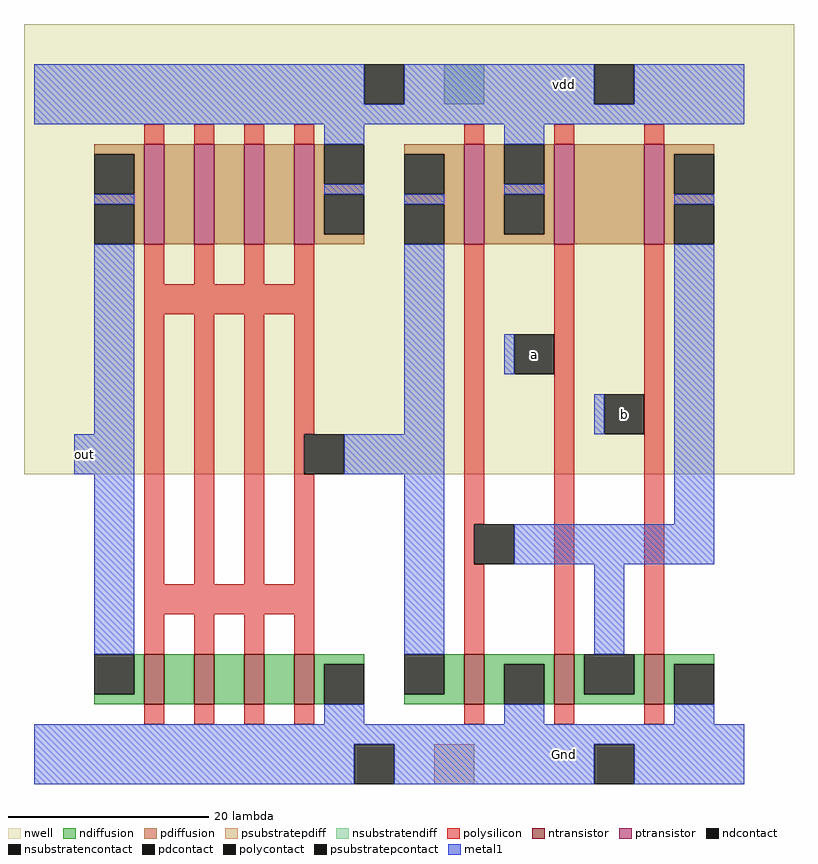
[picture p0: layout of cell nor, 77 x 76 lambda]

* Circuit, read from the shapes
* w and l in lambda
.subckt nor Gnd a b out vdd
M1 n1 n2 out Gnd nfet w=5 l=2
M2 n3 n2 n1 Gnd nfet w=5 l=2
M3 n4 n2 n3 Gnd nfet w=5 l=2
M4 Gnd n2 n4 Gnd nfet w=5 l=2
M5 Gnd n5 n2 Gnd nfet w=5 l=2
M6 n5 a Gnd Gnd nfet w=5 l=2
M7 Gnd b n5 Gnd nfet w=5 l=2
M8 n6 n2 out vdd pfet w=10 l=2
M9 n7 n2 n6 vdd pfet w=10 l=2
M10 n8 n2 n7 vdd pfet w=10 l=2
M11 vdd n2 n8 vdd pfet w=10 l=2
M12 vdd n5 n2 vdd pfet w=10 l=2
M13 n9 a vdd vdd pfet w=10 l=2
M14 n5 b n9 vdd pfet w=10 l=2
.ends

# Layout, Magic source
magic
tech min2
<< nwell >>
rect -52 24 25 69
<< ntransistor >>
rect -40 1 -38 6
rect -35 1 -33 6
rect -30 1 -28 6
rect -25 1 -23 6
rect -8 1 -6 6
rect 1 1 3 6
rect 10 1 12 6
<< ptransistor >>
rect -40 47 -38 57
rect -35 47 -33 57
rect -30 47 -28 57
rect -25 47 -23 57
rect -8 47 -6 57
rect 1 47 3 57
rect 10 47 12 57
<< ndiffusion >>
rect -41 2 -40 6
rect -45 1 -40 2
rect -38 1 -35 6
rect -33 1 -30 6
rect -28 1 -25 6
rect -23 5 -18 6
rect -23 1 -22 5
rect -10 2 -8 6
rect -14 1 -8 2
rect -6 5 1 6
rect -6 1 -4 5
rect 0 1 1 5
rect 3 2 4 6
rect 9 2 10 6
rect 3 1 10 2
rect 12 5 17 6
rect 12 1 13 5
<< pdiffusion >>
rect -45 56 -40 57
rect -41 52 -40 56
rect -45 51 -40 52
rect -41 47 -40 51
rect -38 47 -35 57
rect -33 47 -30 57
rect -28 47 -25 57
rect -23 53 -22 57
rect -23 52 -18 53
rect -23 48 -22 52
rect -23 47 -18 48
rect -14 56 -8 57
rect -10 52 -8 56
rect -14 51 -8 52
rect -10 47 -8 51
rect -6 53 -4 57
rect 0 53 1 57
rect -6 52 1 53
rect -6 48 -4 52
rect 0 48 1 52
rect -6 47 1 48
rect 3 47 10 57
rect 12 56 17 57
rect 12 52 13 56
rect 12 51 17 52
rect 12 47 13 51
<< ndcontact >>
rect -45 2 -41 6
rect -22 1 -18 5
rect -14 2 -10 6
rect -4 1 0 5
rect 4 2 9 6
rect 13 1 17 5
<< pdcontact >>
rect -45 52 -41 56
rect -45 47 -41 51
rect -22 53 -18 57
rect -22 48 -18 52
rect -14 52 -10 56
rect -14 47 -10 51
rect -4 53 0 57
rect -4 48 0 52
rect 13 52 17 56
rect 13 47 17 51
<< psubstratepdiff >>
rect -11 -7 -7 -3
<< nsubstratendiff >>
rect -10 61 -6 65
<< psubstratepcontact >>
rect -19 -7 -15 -3
rect 5 -7 9 -3
<< nsubstratencontact >>
rect -18 61 -14 65
rect 5 61 9 65
<< polysilicon >>
rect -40 57 -38 59
rect -35 57 -33 59
rect -30 57 -28 59
rect -25 57 -23 59
rect -8 57 -6 59
rect 1 57 3 59
rect 10 57 12 59
rect -40 43 -38 47
rect -35 43 -33 47
rect -30 43 -28 47
rect -25 43 -23 47
rect -40 40 -23 43
rect -40 13 -38 40
rect -35 13 -33 40
rect -30 13 -28 40
rect -25 28 -23 40
rect -25 24 -24 28
rect -25 13 -23 24
rect -40 10 -23 13
rect -40 6 -38 10
rect -35 6 -33 10
rect -30 6 -28 10
rect -25 6 -23 10
rect -8 19 -6 47
rect -8 15 -7 19
rect -8 6 -6 15
rect 1 6 3 47
rect 10 6 12 47
rect -40 -1 -38 1
rect -35 -1 -33 1
rect -30 -1 -28 1
rect -25 -1 -23 1
rect -8 -1 -6 1
rect 1 -1 3 1
rect 10 -1 12 1
<< polycontact >>
rect -24 24 -20 28
rect -3 34 1 38
rect -7 15 -3 19
rect 6 28 10 32
<< metal1 >>
rect -51 61 -18 65
rect -14 61 5 65
rect 9 61 20 65
rect -51 59 20 61
rect -22 57 -18 59
rect -45 51 -41 52
rect -4 57 0 59
rect -22 52 -18 53
rect -14 51 -10 52
rect -45 28 -41 47
rect -4 52 0 53
rect 13 51 17 52
rect -14 28 -10 47
rect -4 34 -3 38
rect 5 28 6 32
rect -47 24 -41 28
rect -20 24 -10 28
rect -45 6 -41 24
rect -14 6 -10 24
rect 13 19 17 47
rect -3 15 17 19
rect 5 6 8 15
rect -22 -1 -18 1
rect -4 -1 0 1
rect 13 -1 17 1
rect -51 -3 20 -1
rect -51 -7 -19 -3
rect -15 -7 5 -3
rect 9 -7 20 -3
<< labels >>
rlabel metal1 2 -4 2 -4 1 Gnd
rlabel metal1 2 63 2 63 5 vdd
rlabel polycontact -1 36 -1 36 1 a
rlabel polycontact 8 30 8 30 1 b
rlabel metal1 -46 26 -46 26 1 out
<< end >>
